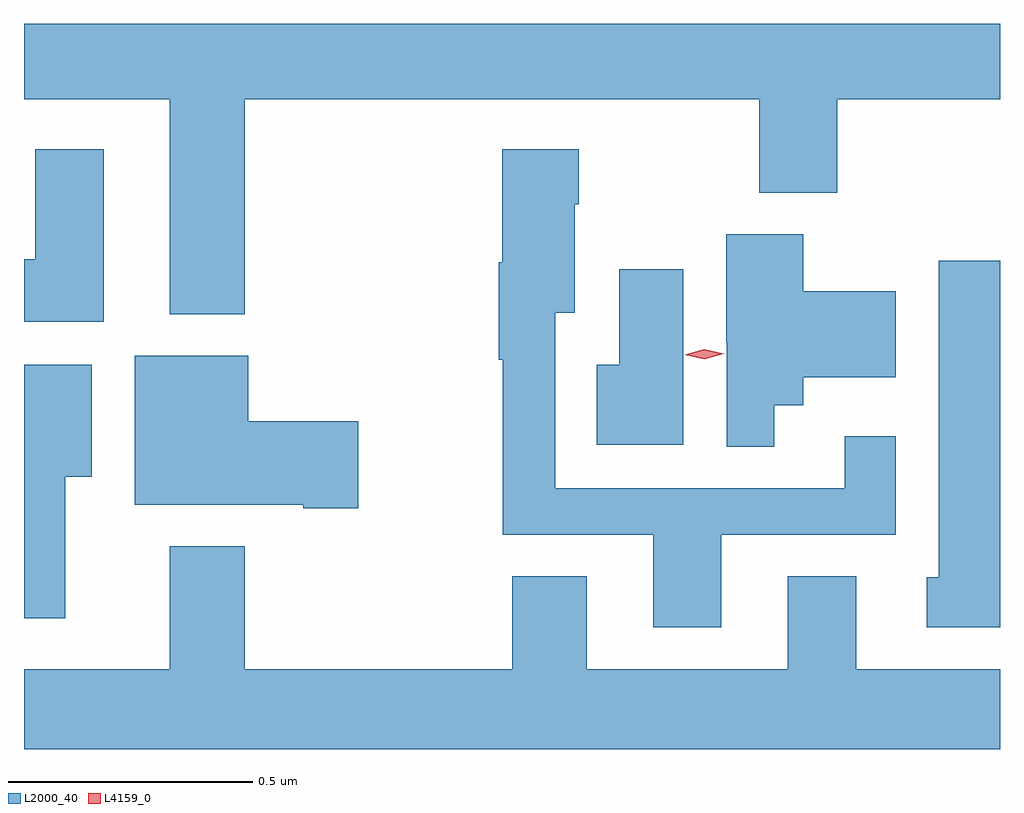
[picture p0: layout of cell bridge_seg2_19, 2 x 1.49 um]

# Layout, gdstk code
import gdstk
lib = gdstk.Library(unit=1e-6, precision=1e-09)
def P(c, l, *ps):  # polygons
    for p in ps: c.add(gdstk.Polygon(p, *l))
L2000_40 = (2000, 40)
L4159_0 = (4159, 0)

bridge_seg2_19 = lib.new_cell('bridge_seg2_19')
P(bridge_seg2_19, L2000_40, [(771.542,613.004),(772.597,613.004),(772.597,612.812),(772.757,612.812),(772.757,613.004),(773.09,613.004),(773.09,613.158),(771.09,613.158),(771.09,613.004),(771.389,613.004),(771.389,612.563),(771.542,612.563)],
  [(772.519,612.111),(772.876,612.111),(772.876,612.313),(772.772,612.313),(772.772,612.207),(772.179,612.207),(772.179,612.566),(772.219,612.566),(772.219,612.788),(772.227,612.788),(772.227,612.901),(772.07,612.901),(772.07,612.67),(772.063,612.67),(772.063,612.47),(772.071,612.47),(772.071,612.111),(772.379,612.111),(772.379,611.922),(772.519,611.922)],
  [(771.253,612.901),(771.113,612.901),(771.113,612.676),(771.09,612.676),(771.09,612.548),(771.253,612.548)],
  [(772.627,612.377),(772.687,612.377),(772.687,612.434),(772.876,612.434),(772.876,612.61),(772.687,612.61),(772.687,612.727),(772.529,612.727),(772.529,612.506),(772.53,612.506),(772.53,612.292),(772.627,612.292)],
  [(773.09,612.673),(772.964,612.673),(772.964,612.024),(772.94,612.024),(772.94,611.922),(773.09,611.922)],
  [(772.441,612.655),(772.31,612.655),(772.31,612.46),(772.264,612.46),(772.264,612.296),(772.441,612.296)],
  [(771.775,612.344),(771.55,612.344),(771.55,612.478),(771.317,612.478),(771.317,612.173),(771.662,612.173),(771.662,612.166),(771.775,612.166)],
  [(771.175,612.23),(771.229,612.23),(771.229,612.46),(771.09,612.46),(771.09,611.94),(771.175,611.94)],
  [(773.09,611.836),(772.795,611.836),(772.795,612.026),(772.655,612.026),(772.655,611.836),(772.243,611.836),(772.243,612.026),(772.091,612.026),(772.091,611.836),(771.542,611.836),(771.542,612.088),(771.389,612.088),(771.389,611.836),(771.09,611.836),(771.09,611.672),(773.09,611.672)])
P(bridge_seg2_19, L4159_0, [(772.484,612.471),(772.444,612.48),(772.443,612.48),(772.444,612.48),(772.484,612.491),(772.524,612.482),(772.525,612.482),(772.524,612.482)])

lib.write_gds('bridge_seg2_19.gds')
